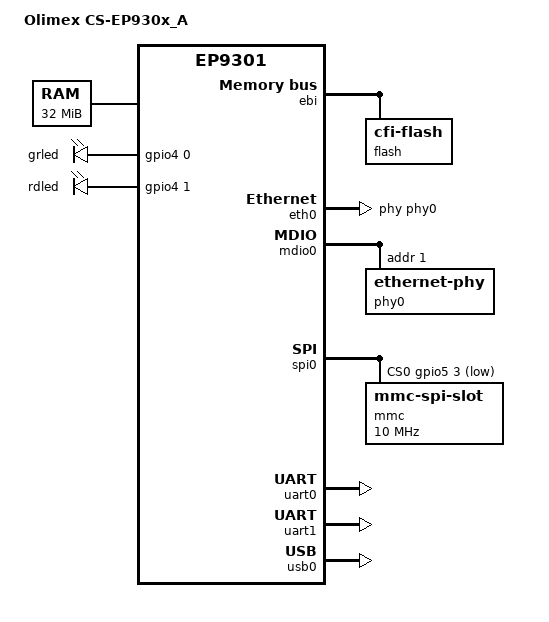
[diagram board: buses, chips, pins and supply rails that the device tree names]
// SPDX-License-Identifier: GPL-2.0-only OR BSD-2-Clause
/*
 * Device Tree file for the Olimex CS-EP930x_A board.
 *
 * Derived from the mainline ep93xx-edb9302.dts and checked against the
 * schematic on the board's DVD (Datasheets/CS-E9302-SCH.gif): 32 MB SDRAM
 * (K4S561632C) on SDCSN0, contiguous at 0 per RedBoot, 16 MB NOR flash (JS28F128J3C120, x16) on CSN6,
 * KS8721BL PHY, GRLED/RLED on the dedicated LED pins. Still unverified:
 * the PHY address (EDB9302's 1 is kept; PHYAD strapping is not legible).
 */
/dts-v1/;
#include "ep93xx.dtsi"

/ {
	#address-cells = <1>;
	#size-cells = <1>;
	compatible = "olimex,cs-ep930x-a", "cirrus,ep9301";
	model = "Olimex CS-EP930x_A";

	chosen {
	};

	memory@0 {
		device_type = "memory";
		/* 32 MB, as RedBoot reports it; the ATAGS override this */
		reg = <0x00000000 0x2000000>;
	};

	leds {
		compatible = "gpio-leds";
		led-0 {
			label = "grled";
			gpios = <&gpio4 0 GPIO_ACTIVE_HIGH>;
			linux,default-trigger = "heartbeat";
			function = LED_FUNCTION_HEARTBEAT;
		};

		led-1 {
			label = "rdled";
			gpios = <&gpio4 1 GPIO_ACTIVE_HIGH>;
			function = LED_FUNCTION_FAULT;
		};
	};
};

&ebi {
	flash@60000000 {
		compatible = "cfi-flash";
		reg = <0x60000000 0x1000000>;
		bank-width = <2>;
	};
};

&eth0 {
	phy-handle = <&phy0>;
};

&gpio4 {
	gpio-ranges = <&syscon 0 97 2>;
};

&mdio0 {
	phy0: ethernet-phy@1 {
		/* TODO: PHY address, see the header */
		reg = <1>;
		device_type = "ethernet-phy";
	};
};

/*
 * SD slot, MMC over SPI. Wiring taken from the stock 2.6.24 boot log
 * ("spi0.43", card detection IRQs 81 and 82), not from the schematic:
 * chip select 43 is GPIO port F line 3 (gpio5 3) if the old numbering is
 * A=0..7, B=8..15, ..., F=40..47. Card detect and write protect are not
 * wired up (broken-cd) until checked against the schematic. The slot
 * shares the bus with the AT25F1024 EEPROM, which stays unused.
 */
&spi0 {
	cs-gpios = <&gpio5 3 GPIO_ACTIVE_LOW>;
	status = "okay";

	mmc@0 {
		compatible = "mmc-spi-slot";
		reg = <0>;
		spi-max-frequency = <10000000>;
		voltage-ranges = <3200 3400>;
		broken-cd;
	};
};

&uart0 {
	status = "okay";
};

&uart1 {
	status = "okay";
};

&usb0 {
	status = "okay";
};
